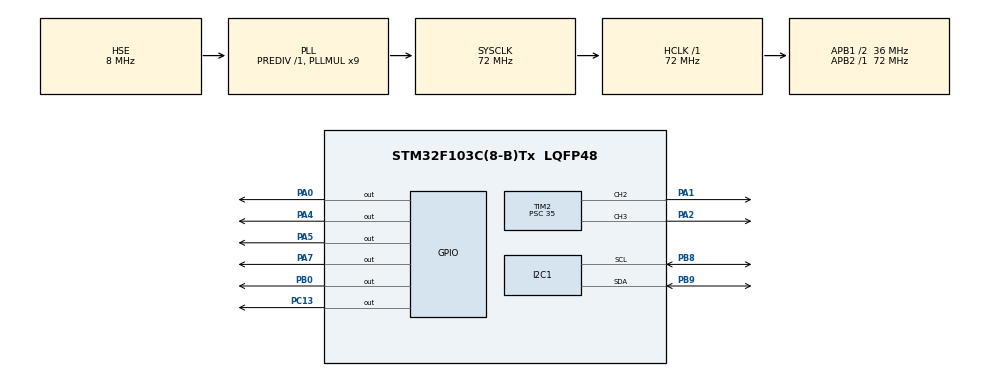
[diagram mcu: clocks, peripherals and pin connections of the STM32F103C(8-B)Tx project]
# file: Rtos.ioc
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FREERTOS.Tasks01=defaultTask,24,128,StartDefaultTask,Default,NULL,Dynamic,NULL,NULL
Mcu.Family=STM32F1
Mcu.Name=STM32F103C(8-B)Tx
Mcu.Package=LQFP48
NVIC.PriorityGroup=NVIC_PRIORITYGROUP_4
NVIC.TIM1_UP_IRQn=true\:5\:0\:false\:false\:true\:true\:true\:true\:true
NVIC.TIM4_IRQn=true\:15\:0\:false\:false\:true\:false\:false\:true\:true
NVIC.TimeBase=TIM4_IRQn
NVIC.TimeBaseIP=TIM4
PA0-WKUP.PinState=GPIO_PIN_SET
PA0-WKUP.Signal=GPIO_Output
PA1.Signal=S_TIM2_CH2
PA13.Mode=Serial_Wire
PA13.Signal=SYS_JTMS-SWDIO
PA14.Mode=Serial_Wire
PA14.Signal=SYS_JTCK-SWCLK
PA2.Signal=S_TIM2_CH3
PA4.Signal=GPIO_Output
PA5.Signal=GPIO_Output
PA6.Signal=S_TIM3_CH1
PA7.Signal=GPIO_Output
PB0.Signal=GPIO_Output
PB8.Mode=I2C
PB8.Signal=I2C1_SCL
PB9.Mode=I2C
PB9.Signal=I2C1_SDA
PC13-TAMPER-RTC.PinState=GPIO_PIN_SET
PC13-TAMPER-RTC.Signal=GPIO_Output
PD0-OSC_IN.Mode=HSE-External-Oscillator
PD0-OSC_IN.Signal=RCC_OSC_IN
PD1-OSC_OUT.Mode=HSE-External-Oscillator
PD1-OSC_OUT.Signal=RCC_OSC_OUT
ProjectManager.HeapSize=0x200
ProjectManager.StackSize=0x400
ProjectManager.TargetToolchain=MDK-ARM V5.32
RCC.AHBFreq_Value=72000000
RCC.APB1CLKDivider=RCC_HCLK_DIV2
RCC.APB1Freq_Value=36000000
RCC.APB1TimFreq_Value=72000000
RCC.APB2Freq_Value=72000000
RCC.APB2TimFreq_Value=72000000
RCC.HCLKFreq_Value=72000000
RCC.PLLMUL=RCC_PLL_MUL9
RCC.PLLSourceVirtual=RCC_PLLSOURCE_HSE
RCC.SYSCLKFreq_VALUE=72000000
RCC.SYSCLKSource=RCC_SYSCLKSOURCE_PLLCLK
RCC.USBFreq_Value=72000000
SH.S_TIM2_CH2.0=TIM2_CH2,PWM Generation2 CH2
SH.S_TIM2_CH3.0=TIM2_CH3,PWM Generation3 CH3
SH.S_TIM3_CH1.0=TIM3_CH1
TIM1.Period=9999
TIM1.Prescaler=7199
TIM2.AutoReloadPreload=TIM_AUTORELOAD_PRELOAD_ENABLE
TIM2.Channel-PWM\ Generation2\ CH2=TIM_CHANNEL_2
TIM2.Channel-PWM\ Generation3\ CH3=TIM_CHANNEL_3
TIM2.Period=99
TIM2.Prescaler=35
TIM3.AutoReloadPreload=TIM_AUTORELOAD_PRELOAD_ENABLE
TIM3.Period=71
TIM3.Prescaler=19999
VP_FREERTOS_VS_CMSIS_V2.Mode=CMSIS_V2
VP_SYS_VS_tim4.Mode=TIM4
VP_TIM1_VS_ClockSourceINT.Mode=Internal
VP_TIM2_VS_ClockSourceINT.Mode=Internal
VP_TIM3_VS_ClockSourceINT.Mode=Internal
board=custom

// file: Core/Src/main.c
/* USER CODE BEGIN Header */
/**
  ******************************************************************************
  * @file           : main.c
  * @brief          : Main program body
  ******************************************************************************
  * @attention
  *
  * Copyright (c) 2026 STMicroelectronics.
  * All rights reserved.
  *
  * This software is licensed under terms that can be found in the LICENSE file
  * in the root directory of this software component.
  * If no LICENSE file comes with this software, it is provided AS-IS.
  *
  ******************************************************************************
  */
/* USER CODE END Header */
#include "main.h"
#include "cmsis_os.h"
#include "i2c.h"
#include "tim.h"
#include "gpio.h"

/* USER CODE BEGIN PV */
int8_t Speed = 0;
/* USER CODE END PV */

void SystemClock_Config(void);
void MX_FREERTOS_Init(void);

int main(void)
{

  /* MCU Configuration--------------------------------------------------------*/

  /* Reset of all peripherals, Initializes the Flash interface and the Systick. */
  HAL_Init();

  /* Configure the system clock */
  SystemClock_Config();

  /* Initialize all configured peripherals */
  MX_GPIO_Init();
  MX_I2C1_Init();
  MX_TIM2_Init();
  MX_TIM1_Init();
  MX_TIM3_Init();
  /* USER CODE BEGIN 2 */
  HAL_TIM_Base_Start_IT(&htim1);
  /* USER CODE END 2 */

  /* Init scheduler */
  osKernelInitialize();

  /* Call init function for freertos objects (in cmsis_os2.c) */
  MX_FREERTOS_Init();

  /* Start scheduler */
  osKernelStart();

  /* We should never get here as control is now taken by the scheduler */

  /* Infinite loop */
  while (1)
  {

  }
}

void SystemClock_Config(void)
{
  RCC_OscInitTypeDef RCC_OscInitStruct = {0};
  RCC_ClkInitTypeDef RCC_ClkInitStruct = {0};

  /** Initializes the RCC Oscillators according to the specified parameters
  * in the RCC_OscInitTypeDef structure.
  */
  RCC_OscInitStruct.OscillatorType = RCC_OSCILLATORTYPE_HSE;
  RCC_OscInitStruct.HSEState = RCC_HSE_ON;
  RCC_OscInitStruct.HSEPredivValue = RCC_HSE_PREDIV_DIV1;
  RCC_OscInitStruct.HSIState = RCC_HSI_ON;
  RCC_OscInitStruct.PLL.PLLState = RCC_PLL_ON;
  RCC_OscInitStruct.PLL.PLLSource = RCC_PLLSOURCE_HSE;
  RCC_OscInitStruct.PLL.PLLMUL = RCC_PLL_MUL9;
  if (HAL_RCC_OscConfig(&RCC_OscInitStruct) != HAL_OK)
  {
    Error_Handler();
  }

  /** Initializes the CPU, AHB and APB buses clocks
  */
  RCC_ClkInitStruct.ClockType = RCC_CLOCKTYPE_HCLK|RCC_CLOCKTYPE_SYSCLK
                              |RCC_CLOCKTYPE_PCLK1|RCC_CLOCKTYPE_PCLK2;
  RCC_ClkInitStruct.SYSCLKSource = RCC_SYSCLKSOURCE_PLLCLK;
  RCC_ClkInitStruct.AHBCLKDivider = RCC_SYSCLK_DIV1;
  RCC_ClkInitStruct.APB1CLKDivider = RCC_HCLK_DIV2;
  RCC_ClkInitStruct.APB2CLKDivider = RCC_HCLK_DIV1;

  if (HAL_RCC_ClockConfig(&RCC_ClkInitStruct, FLASH_LATENCY_2) != HAL_OK)
  {
    Error_Handler();
  }
}

void HAL_TIM_PeriodElapsedCallback(TIM_HandleTypeDef *htim)
{
  /* USER CODE BEGIN Callback 0 */
  static uint8_t count = 0;
  if (htim->Instance == TIM1)
  {
    count++;
    if (count == 3)
    {
      count = 0;
      Speed += 20;
    }
    if (Speed > 40)
    {
      Speed = -40;
    }
  }
  /* USER CODE END Callback 0 */
  if (htim->Instance == TIM4) {
    HAL_IncTick();
  }
}

void Error_Handler(void)
{
  __disable_irq();
  while (1)
  {
  }
}

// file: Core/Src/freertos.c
/* USER CODE BEGIN Header */
/**
 ******************************************************************************
 * File Name          : freertos.c
 * Description        : Code for freertos applications
 ******************************************************************************
 * @attention
 *
 * Copyright (c) 2026 STMicroelectronics.
 * All rights reserved.
 *
 * This software is licensed under terms that can be found in the LICENSE file
 * in the root directory of this software component.
 * If no LICENSE file comes with this software, it is provided AS-IS.
 *
 ******************************************************************************
 */
/* USER CODE END Header */

#include "FreeRTOS.h"
#include "task.h"
#include "main.h"
#include "cmsis_os.h"

/* USER CODE BEGIN Includes */
#include "LED.h"
#include "Buzzer.h"
#include "driver_lcd.h"
#include "Motor.h"
/* USER CODE END Includes */

/* USER CODE BEGIN Variables */
extern int8_t Speed;
/* USER CODE END Variables */
/* Definitions for defaultTask */
osThreadId_t defaultTaskHandle;
const osThreadAttr_t defaultTask_attributes = {
  .name = "defaultTask",
  .stack_size = 128 * 4,
  .priority = (osPriority_t) osPriorityNormal,
};

/* USER CODE BEGIN FunctionPrototypes */
void Buzzer_Task(void *argument);
void Motor_Task(void *argument);
void OLED_Task(void *argument);
/* USER CODE END FunctionPrototypes */

void StartDefaultTask(void *argument);

void MX_FREERTOS_Init(void); /* (MISRA C 2004 rule 8.1) */

void MX_FREERTOS_Init(void) {

  /* Create the thread(s) */
  /* creation of defaultTask */
  defaultTaskHandle = osThreadNew(StartDefaultTask, NULL, &defaultTask_attributes);

  /* USER CODE BEGIN RTOS_THREADS */
  /* add threads, ... */

  xTaskCreate(Buzzer_Task, "Buzzer_Task", 128, NULL, osPriorityNormal, NULL);
  xTaskCreate(Motor_Task, "Motor_Task", 128, NULL, osPriorityNormal, NULL);
  xTaskCreate(OLED_Task, "OLED_Task", 128, NULL, osPriorityNormal, NULL);
  /* USER CODE END RTOS_THREADS */

}

void StartDefaultTask(void *argument)
{
  /* USER CODE BEGIN StartDefaultTask */
  /* Infinite loop */
  // LCD_Clear();
  for (;;)
  {
    // MotorA1_SteSpeed(Speed);
    // MotorA2_SetSpeed(Speed);
    // MotorA2_SetSpeed(20);
    // LCD_Test();
    // LCD_PrintString(0, 0, "Hello World!");
    LED_Flashing();
    // osDelay(1);
  }
  /* USER CODE END StartDefaultTask */
}

/* USER CODE BEGIN Application */
void Buzzer_Task(void *argument)
{
  while (1)
  {
    Buzzer_Ringing();
  }
}

/*
TB6612的5V供电太小，只能驱动一个电机转动，特此说明-----其实是因为电脑的USB供电太小了.......
*/
void Motor_Task(void *argument)
{
  while (1)
  {
    MotorA2_SetSpeed(Speed);

  }
}

void OLED_Task(void *argument)
{
  static uint8_t len = 0;
  LCD_Clear();

  while (1)
  {
    if(Speed == 0)
		{
		    LCD_PrintString(0, 0, "Speed:   ");

		}
    len = LCD_PrintString(0, 0, "Speed:");
    LCD_PrintSignedVal(len, 0, Speed);
//  osDelay(1000); // 1000ms刷新1次，避免闪烁和CPU占用
		vTaskDelay(1000);
  }
}
/* USER CODE END Application */
